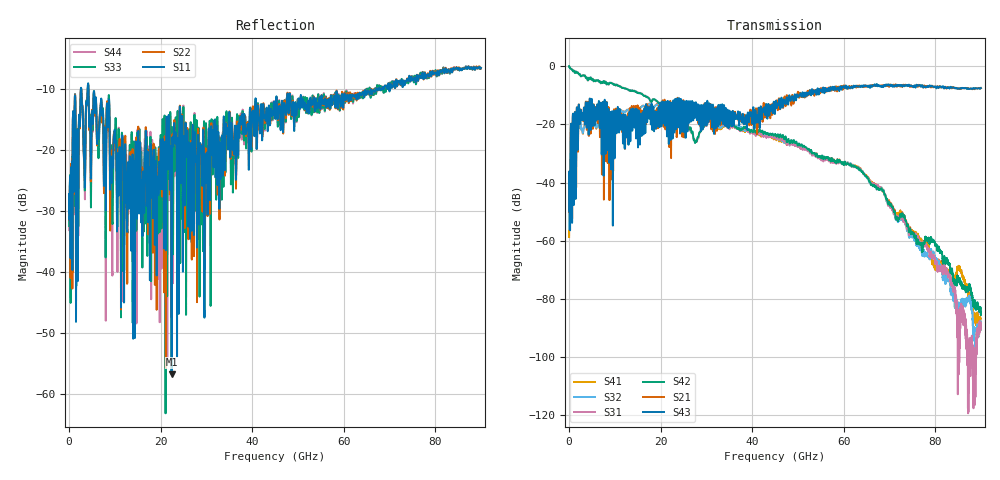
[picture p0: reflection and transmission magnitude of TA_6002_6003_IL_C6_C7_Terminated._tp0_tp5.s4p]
!Touchstone File created by Channel Assembly Engine (Version 2.0.0_Beta1)
!Current time:  2022 6/29 11:33:40
!Port 1 -> Port 3 : Port 3 Device 1 (Port3) -> Port 4 Device 6 (Port4)
!Port 2 -> Port 4 : Port 4 Device 1 (Port4) -> Port 3 Device 6 (Port3)
!Port 3 -> Port 1 : Port 4 Device 6 (Port4) -> Port 3 Device 1 (Port3)
!Port 4 -> Port 2 : Port 3 Device 6 (Port3) -> Port 4 Device 1 (Port4)
# Hz S RI R 50
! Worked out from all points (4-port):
!   9000 points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, 10 MHz to 90 GHz, reference 50 ohm
!   strongest paths, dB at 10 MHz, 22.51 GHz, 45.01 GHz, 67.51 GHz, 90 GHz:
!     S43: -50.0, -16.0, -15.9, -6.8, -7.5
!     S21: -50.1, -12.8, -12.7, -6.7, -7.5
!     S42: 0.0, -16.2, -23.4, -41.8, -84.8
!     S31: 0.0, -16.4, -24.2, -40.9, -89.7
!     S32: -55.9, -13.6, -24.1, -41.4, -89.8
!     S41: -58.7, -13.4, -24.6, -41.1, -88.6
!   lowest |S11| = -56.7 dB at 22.4 GHz (marker M1), VSWR 1.00, Z = 50.1 + j0.136 ohm
!   |S11| at or under -10 dB: start of sweep to 2.574 GHz; 2.65 GHz to 4.062 GHz (1.412 GHz wide, 42.1 % of centre); 4.242 GHz to 67.1 GHz (62.86 GHz wide, 176 % of centre) (the widest 3 of 8)
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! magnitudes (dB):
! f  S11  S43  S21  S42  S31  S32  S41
! 10 MHz  -27.2  -50.0  -50.1  0.0  0.0  -55.9  -58.7
! 770 MHz  -21.4  -19.6  -19.7  -1.4  -1.4  -24.2  -24.1
! 2.35 GHz  -16.2  -19.7  -19.8  -2.8  -2.8  -20.1  -20.1
! 12.69 GHz  -31.9  -18.9  -22.8  -7.9  -7.9  -15.1  -15.0
! 22.4 GHz  -56.7  -12.7  -14.3  -16.2  -16.4  -13.6  -13.4
! 63.35 GHz  -11.4  -6.9  -6.8  -35.4  -35.2  -35.3  -35.0
! 90 GHz  -6.5  -7.5  -7.5  -84.8  -89.7  -89.8  -88.6
